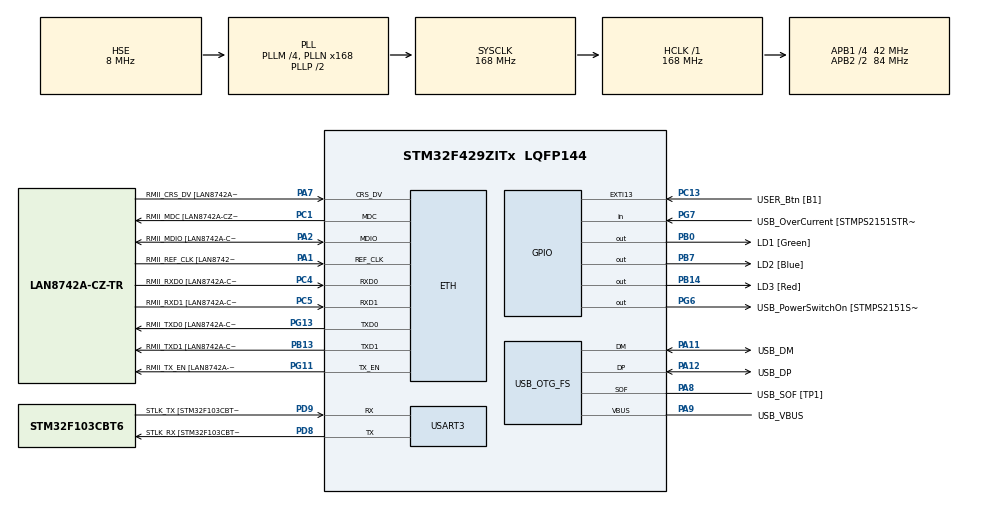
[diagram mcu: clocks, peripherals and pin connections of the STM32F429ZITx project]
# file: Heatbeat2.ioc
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ETH.MediaInterface=ETH_MEDIA_INTERFACE_RMII
ETH.PHY_Name=LAN8742A_PHY_ADDRESS
ETH.PHY_Value=0
ETH.PhyAddress=0
Mcu.Family=STM32F4
Mcu.Name=STM32F429ZITx
Mcu.Package=LQFP144
NVIC.PriorityGroup=NVIC_PRIORITYGROUP_4
PA1.GPIO_Label=RMII_REF_CLK [LAN8742A-CZ-TR_REFCLK0]
PA1.Mode=RMII
PA1.Signal=ETH_REF_CLK
PA10.GPIO_Label=USB_ID
PA10.Signal=USB_OTG_FS_ID
PA11.GPIO_Label=USB_DM
PA11.Mode=Device_Only
PA11.Signal=USB_OTG_FS_DM
PA12.GPIO_Label=USB_DP
PA12.Mode=Device_Only
PA12.Signal=USB_OTG_FS_DP
PA13.GPIO_Label=TMS
PA13.Mode=Serial_Wire
PA13.Signal=SYS_JTMS-SWDIO
PA14.GPIO_Label=TCK
PA14.Mode=Serial_Wire
PA14.Signal=SYS_JTCK-SWCLK
PA2.GPIO_Label=RMII_MDIO [LAN8742A-CZ-TR_MDIO]
PA2.Mode=RMII
PA2.Signal=ETH_MDIO
PA7.GPIO_Label=RMII_CRS_DV [LAN8742A-CZ-TR_CRS_DV]
PA7.Mode=RMII
PA7.Signal=ETH_CRS_DV
PA8.GPIO_Label=USB_SOF [TP1]
PA8.Mode=Activate_SOF_FS
PA8.Signal=USB_OTG_FS_SOF
PA9.GPIO_Label=USB_VBUS
PA9.Mode=Activate_VBUS
PA9.Signal=USB_OTG_FS_VBUS
PB0.GPIO_Label=LD1 [Green]
PB0.Signal=GPIO_Output
PB13.GPIO_Label=RMII_TXD1 [LAN8742A-CZ-TR_TXD1]
PB13.Mode=RMII
PB13.Signal=ETH_TXD1
PB14.GPIO_Label=LD3 [Red]
PB14.Signal=GPIO_Output
PB7.GPIO_Label=LD2 [Blue]
PB7.Signal=GPIO_Output
PC1.GPIO_Label=RMII_MDC [LAN8742A-CZ-TR_MDC]
PC1.Mode=RMII
PC1.Signal=ETH_MDC
PC13.GPIO_Label=USER_Btn [B1]
PC13.Signal=GPXTI13
PC14/OSC32_IN.Mode=LSE-External-Oscillator
PC14/OSC32_IN.Signal=RCC_OSC32_IN
PC15/OSC32_OUT.Mode=LSE-External-Oscillator
PC15/OSC32_OUT.Signal=RCC_OSC32_OUT
PC4.GPIO_Label=RMII_RXD0 [LAN8742A-CZ-TR_RXD0]
PC4.Mode=RMII
PC4.Signal=ETH_RXD0
PC5.GPIO_Label=RMII_RXD1 [LAN8742A-CZ-TR_RXD1]
PC5.Mode=RMII
PC5.Signal=ETH_RXD1
PD8.GPIO_Label=STLK_RX [STM32F103CBT6_PA3]
PD8.Mode=Asynchronous
PD8.Signal=USART3_TX
PD9.GPIO_Label=STLK_TX [STM32F103CBT6_PA2]
PD9.Mode=Asynchronous
PD9.Signal=USART3_RX
PG11.GPIO_Label=RMII_TX_EN [LAN8742A-CZ-TR_TXEN]
PG11.Mode=RMII
PG11.Signal=ETH_TX_EN
PG13.GPIO_Label=RMII_TXD0 [LAN8742A-CZ-TR_TXD0]
PG13.Mode=RMII
PG13.Signal=ETH_TXD0
PG6.GPIO_Label=USB_PowerSwitchOn [STMPS2151STR_EN]
PG6.Signal=GPIO_Output
PG7.GPIO_Label=USB_OverCurrent [STMPS2151STR_FAULT]
PG7.Signal=GPIO_Input
PH0/OSC_IN.GPIO_Label=MCO [STM32F103CBT6_PA8]
PH0/OSC_IN.Mode=HSE-External-Clock-Source
PH0/OSC_IN.Signal=RCC_OSC_IN
PH1/OSC_OUT.Mode=HSE-External-Clock-Source
PH1/OSC_OUT.Signal=RCC_OSC_OUT
ProjectManager.HeapSize=0x200
ProjectManager.StackSize=0x400
ProjectManager.TargetToolchain=TrueSTUDIO
RCC.48MHZClocksFreq_Value=48000000
RCC.AHBFreq_Value=168000000
RCC.APB1CLKDivider=RCC_HCLK_DIV4
RCC.APB1Freq_Value=42000000
RCC.APB1TimFreq_Value=84000000
RCC.APB2CLKDivider=RCC_HCLK_DIV2
RCC.APB2Freq_Value=84000000
RCC.APB2TimCLKDivider=2
RCC.APB2TimFreq_Value=168000000
RCC.CortexFreq_Value=168000000
RCC.HCLKFreq_Value=168000000
RCC.HSE_VALUE=8000000
RCC.HSI_VALUE=16000000
RCC.PLLM=4
RCC.PLLMUL=RCC_PLL_MUL9
RCC.PLLN=168
RCC.PLLQ=7
RCC.PRESCALERUSB=RCC_USBCLKSOURCE_PLL_DIV1_5
RCC.SYSCLKFreq_VALUE=168000000
RCC.SYSCLKSource=RCC_SYSCLKSOURCE_PLLCLK
RCC.SYSCLKSourceVirtual=RCC_SYSCLKSOURCE_PLLCLK
RCC.USBFreq_Value=48000000
RCC.VCOOutputFreq_Value=336000000
USART3.VirtualMode=VM_ASYNC
USB_OTG_FS.VirtualMode=Device_Only
board=NUCLEO-F429ZI

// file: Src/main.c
/* USER CODE BEGIN Header */
/**
  ******************************************************************************
  * @file           : main.c
  * @brief          : Main program body
  ******************************************************************************
  ** This notice applies to any and all portions of this file
  * that are not between comment pairs USER CODE BEGIN and
  * USER CODE END. Other portions of this file, whether
  * inserted by the user or by software development tools
  * are owned by their respective copyright owners.
  *
  * COPYRIGHT(c) 2019 STMicroelectronics
  *
  * Redistribution and use in source and binary forms, with or without modification,
  * are permitted provided that the following conditions are met:
  *   1. Redistributions of source code must retain the above copyright notice,
  *      this list of conditions and the following disclaimer.
  *   2. Redistributions in binary form must reproduce the above copyright notice,
  *      this list of conditions and the following disclaimer in the documentation
  *      and/or other materials provided with the distribution.
  *   3. Neither the name of STMicroelectronics nor the names of its contributors
  *      may be used to endorse or promote products derived from this software
  *      without specific prior written permission.
  *
  * THIS SOFTWARE IS PROVIDED BY THE COPYRIGHT HOLDERS AND CONTRIBUTORS "AS IS"
  * AND ANY EXPRESS OR IMPLIED WARRANTIES, INCLUDING, BUT NOT LIMITED TO, THE
  * IMPLIED WARRANTIES OF MERCHANTABILITY AND FITNESS FOR A PARTICULAR PURPOSE ARE
  * DISCLAIMED. IN NO EVENT SHALL THE COPYRIGHT HOLDER OR CONTRIBUTORS BE LIABLE
  * FOR ANY DIRECT, INDIRECT, INCIDENTAL, SPECIAL, EXEMPLARY, OR CONSEQUENTIAL
  * DAMAGES (INCLUDING, BUT NOT LIMITED TO, PROCUREMENT OF SUBSTITUTE GOODS OR
  * SERVICES; LOSS OF USE, DATA, OR PROFITS; OR BUSINESS INTERRUPTION) HOWEVER
  * CAUSED AND ON ANY THEORY OF LIABILITY, WHETHER IN CONTRACT, STRICT LIABILITY,
  * OR TORT (INCLUDING NEGLIGENCE OR OTHERWISE) ARISING IN ANY WAY OUT OF THE USE
  * OF THIS SOFTWARE, EVEN IF ADVISED OF THE POSSIBILITY OF SUCH DAMAGE.
  *
  ******************************************************************************
  */
/* USER CODE END Header */

#include "main.h"

ETH_HandleTypeDef heth;

UART_HandleTypeDef huart3;

PCD_HandleTypeDef hpcd_USB_OTG_FS;

void SystemClock_Config(void);
static void MX_GPIO_Init(void);
static void MX_ETH_Init(void);
static void MX_USART3_UART_Init(void);
static void MX_USB_OTG_FS_PCD_Init(void);

/* USER CODE BEGIN 0 */
void delay_LED()
{
	volatile int cpt = 0;
	for (volatile int i = 0; i < 10000000; i++);
	cpt++;
}
void delay_LED2()
{
	volatile int cpt2 = 0;
	for (volatile int i = 0; i < 1000000; i++);
	cpt2++;
}
/* USER CODE END 0 */

int main(void)
{

  /* MCU Configuration--------------------------------------------------------*/

  /* Reset of all peripherals, Initializes the Flash interface and the Systick. */
  HAL_Init();

  /* Configure the system clock */
  SystemClock_Config();

  /* Initialize all configured peripherals */
  MX_GPIO_Init();
  MX_ETH_Init();
  MX_USART3_UART_Init();
  MX_USB_OTG_FS_PCD_Init();

  /* Infinite loop */
  /* USER CODE BEGIN WHILE */
  while (1)
  {
	  HAL_GPIO_TogglePin(GPIOB, LD3_Pin);
	  HAL_GPIO_TogglePin(GPIOB, LD2_Pin);
	  HAL_GPIO_TogglePin(GPIOB, LD1_Pin);
	  HAL_Delay(2500);
	  HAL_GPIO_TogglePin(GPIOB, LD3_Pin);
	  HAL_GPIO_TogglePin(GPIOB, LD2_Pin);
	  HAL_GPIO_TogglePin(GPIOB, LD1_Pin);
	  HAL_Delay(2500);

	  /*HAL_GPIO_WritePin(GPIOB, LD1_Pin, 1);
	  delay_LED();
	  HAL_GPIO_WritePin(GPIOB, LD1_Pin, 0);
	  HAL_GPIO_WritePin(GPIOB, LD2_Pin, 1);
	  delay_LED();
	  HAL_GPIO_WritePin(GPIOB, LD1_Pin, 1);
	  delay_LED();
	  HAL_GPIO_WritePin(GPIOB, LD1_Pin, 0);
	  HAL_GPIO_WritePin(GPIOB, LD2_Pin, 0);
	  HAL_GPIO_WritePin(GPIOB, LD3_Pin, 1);
	  delay_LED();
	  HAL_GPIO_WritePin(GPIOB, LD1_Pin, 1);
	  delay_LED();
	  HAL_GPIO_WritePin(GPIOB, LD1_Pin, 0);
	  HAL_GPIO_WritePin(GPIOB, LD2_Pin, 1);
	  delay_LED();
	  HAL_GPIO_WritePin(GPIOB, LD1_Pin, 1);
	  delay_LED();
	  HAL_GPIO_WritePin(GPIOB, LD1_Pin, 0);
	  HAL_GPIO_WritePin(GPIOB, LD2_Pin, 0);
	  HAL_GPIO_WritePin(GPIOB, LD3_Pin, 0);
	  delay_LED2();
	  HAL_GPIO_WritePin(GPIOB, LD1_Pin, 1);
	  HAL_GPIO_WritePin(GPIOB, LD2_Pin, 1);
	  HAL_GPIO_WritePin(GPIOB, LD3_Pin, 1);
	  delay_LED2();
	  HAL_GPIO_WritePin(GPIOB, LD1_Pin, 0);
	  HAL_GPIO_WritePin(GPIOB, LD2_Pin, 0);
	  HAL_GPIO_WritePin(GPIOB, LD3_Pin, 0);
	  delay_LED2();
	  HAL_GPIO_WritePin(GPIOB, LD1_Pin, 1);
	  HAL_GPIO_WritePin(GPIOB, LD2_Pin, 1);
	  HAL_GPIO_WritePin(GPIOB, LD3_Pin, 1);
	  delay_LED2();
	  HAL_GPIO_WritePin(GPIOB, LD1_Pin, 0);
	  HAL_GPIO_WritePin(GPIOB, LD2_Pin, 0);
	  HAL_GPIO_WritePin(GPIOB, LD3_Pin, 0);
	  delay_LED2();
	  HAL_GPIO_WritePin(GPIOB, LD1_Pin, 1);
	  HAL_GPIO_WritePin(GPIOB, LD2_Pin, 1);
	  HAL_GPIO_WritePin(GPIOB, LD3_Pin, 1);
	  delay_LED2();
	  HAL_GPIO_WritePin(GPIOB, LD1_Pin, 0);
	  HAL_GPIO_WritePin(GPIOB, LD2_Pin, 0);
	  HAL_GPIO_WritePin(GPIOB, LD3_Pin, 0);
	  delay_LED();*/
    /* USER CODE END WHILE */

  }
}

void SystemClock_Config(void)
{
  RCC_OscInitTypeDef RCC_OscInitStruct = {0};
  RCC_ClkInitTypeDef RCC_ClkInitStruct = {0};

  /**Configure the main internal regulator output voltage
  */
  __HAL_RCC_PWR_CLK_ENABLE();
  __HAL_PWR_VOLTAGESCALING_CONFIG(PWR_REGULATOR_VOLTAGE_SCALE1);
  /**Initializes the CPU, AHB and APB busses clocks
  */
  RCC_OscInitStruct.OscillatorType = RCC_OSCILLATORTYPE_HSE;
  RCC_OscInitStruct.HSEState = RCC_HSE_BYPASS;
  RCC_OscInitStruct.PLL.PLLState = RCC_PLL_ON;
  RCC_OscInitStruct.PLL.PLLSource = RCC_PLLSOURCE_HSE;
  RCC_OscInitStruct.PLL.PLLM = 4;
  RCC_OscInitStruct.PLL.PLLN = 168;
  RCC_OscInitStruct.PLL.PLLP = RCC_PLLP_DIV2;
  RCC_OscInitStruct.PLL.PLLQ = 7;
  if (HAL_RCC_OscConfig(&RCC_OscInitStruct) != HAL_OK)
  {
    Error_Handler();
  }
  /**Initializes the CPU, AHB and APB busses clocks
  */
  RCC_ClkInitStruct.ClockType = RCC_CLOCKTYPE_HCLK|RCC_CLOCKTYPE_SYSCLK
                              |RCC_CLOCKTYPE_PCLK1|RCC_CLOCKTYPE_PCLK2;
  RCC_ClkInitStruct.SYSCLKSource = RCC_SYSCLKSOURCE_PLLCLK;
  RCC_ClkInitStruct.AHBCLKDivider = RCC_SYSCLK_DIV1;
  RCC_ClkInitStruct.APB1CLKDivider = RCC_HCLK_DIV4;
  RCC_ClkInitStruct.APB2CLKDivider = RCC_HCLK_DIV2;

  if (HAL_RCC_ClockConfig(&RCC_ClkInitStruct, FLASH_LATENCY_5) != HAL_OK)
  {
    Error_Handler();
  }
}

static void MX_ETH_Init(void)
{

   uint8_t MACAddr[6] ;

  heth.Instance = ETH;
  heth.Init.AutoNegotiation = ETH_AUTONEGOTIATION_ENABLE;
  heth.Init.PhyAddress = LAN8742A_PHY_ADDRESS;
  MACAddr[0] = 0x00;
  MACAddr[1] = 0x80;
  MACAddr[2] = 0xE1;
  MACAddr[3] = 0x00;
  MACAddr[4] = 0x00;
  MACAddr[5] = 0x00;
  heth.Init.MACAddr = &MACAddr[0];
  heth.Init.RxMode = ETH_RXPOLLING_MODE;
  heth.Init.ChecksumMode = ETH_CHECKSUM_BY_HARDWARE;
  heth.Init.MediaInterface = ETH_MEDIA_INTERFACE_RMII;

  if (HAL_ETH_Init(&heth) != HAL_OK)
  {
    Error_Handler();
  }

}

static void MX_USART3_UART_Init(void)
{

  huart3.Instance = USART3;
  huart3.Init.BaudRate = 115200;
  huart3.Init.WordLength = UART_WORDLENGTH_8B;
  huart3.Init.StopBits = UART_STOPBITS_1;
  huart3.Init.Parity = UART_PARITY_NONE;
  huart3.Init.Mode = UART_MODE_TX_RX;
  huart3.Init.HwFlowCtl = UART_HWCONTROL_NONE;
  huart3.Init.OverSampling = UART_OVERSAMPLING_16;
  if (HAL_UART_Init(&huart3) != HAL_OK)
  {
    Error_Handler();
  }

}

static void MX_USB_OTG_FS_PCD_Init(void)
{

  hpcd_USB_OTG_FS.Instance = USB_OTG_FS;
  hpcd_USB_OTG_FS.Init.dev_endpoints = 4;
  hpcd_USB_OTG_FS.Init.speed = PCD_SPEED_FULL;
  hpcd_USB_OTG_FS.Init.dma_enable = DISABLE;
  hpcd_USB_OTG_FS.Init.ep0_mps = DEP0CTL_MPS_64;
  hpcd_USB_OTG_FS.Init.phy_itface = PCD_PHY_EMBEDDED;
  hpcd_USB_OTG_FS.Init.Sof_enable = ENABLE;
  hpcd_USB_OTG_FS.Init.low_power_enable = DISABLE;
  hpcd_USB_OTG_FS.Init.lpm_enable = DISABLE;
  hpcd_USB_OTG_FS.Init.vbus_sensing_enable = ENABLE;
  hpcd_USB_OTG_FS.Init.use_dedicated_ep1 = DISABLE;
  if (HAL_PCD_Init(&hpcd_USB_OTG_FS) != HAL_OK)
  {
    Error_Handler();
  }

}

static void MX_GPIO_Init(void)
{
  GPIO_InitTypeDef GPIO_InitStruct = {0};

  /* GPIO Ports Clock Enable */
  __HAL_RCC_GPIOC_CLK_ENABLE();
  __HAL_RCC_GPIOH_CLK_ENABLE();
  __HAL_RCC_GPIOA_CLK_ENABLE();
  __HAL_RCC_GPIOB_CLK_ENABLE();
  __HAL_RCC_GPIOD_CLK_ENABLE();
  __HAL_RCC_GPIOG_CLK_ENABLE();

  /*Configure GPIO pin Output Level */
  HAL_GPIO_WritePin(GPIOB, LD1_Pin|LD3_Pin|LD2_Pin, GPIO_PIN_RESET);

  /*Configure GPIO pin Output Level */
  HAL_GPIO_WritePin(USB_PowerSwitchOn_GPIO_Port, USB_PowerSwitchOn_Pin, GPIO_PIN_RESET);

  /*Configure GPIO pin : USER_Btn_Pin */
  GPIO_InitStruct.Pin = USER_Btn_Pin;
  GPIO_InitStruct.Mode = GPIO_MODE_IT_RISING;
  GPIO_InitStruct.Pull = GPIO_NOPULL;
  HAL_GPIO_Init(USER_Btn_GPIO_Port, &GPIO_InitStruct);

  /*Configure GPIO pins : LD1_Pin LD3_Pin LD2_Pin */
  GPIO_InitStruct.Pin = LD1_Pin|LD3_Pin|LD2_Pin;
  GPIO_InitStruct.Mode = GPIO_MODE_OUTPUT_PP;
  GPIO_InitStruct.Pull = GPIO_NOPULL;
  GPIO_InitStruct.Speed = GPIO_SPEED_FREQ_LOW;
  HAL_GPIO_Init(GPIOB, &GPIO_InitStruct);

  /*Configure GPIO pin : USB_PowerSwitchOn_Pin */
  GPIO_InitStruct.Pin = USB_PowerSwitchOn_Pin;
  GPIO_InitStruct.Mode = GPIO_MODE_OUTPUT_PP;
  GPIO_InitStruct.Pull = GPIO_NOPULL;
  GPIO_InitStruct.Speed = GPIO_SPEED_FREQ_LOW;
  HAL_GPIO_Init(USB_PowerSwitchOn_GPIO_Port, &GPIO_InitStruct);

  /*Configure GPIO pin : USB_OverCurrent_Pin */
  GPIO_InitStruct.Pin = USB_OverCurrent_Pin;
  GPIO_InitStruct.Mode = GPIO_MODE_INPUT;
  GPIO_InitStruct.Pull = GPIO_NOPULL;
  HAL_GPIO_Init(USB_OverCurrent_GPIO_Port, &GPIO_InitStruct);

}

void Error_Handler(void)
{
}

/************************ (C) COPYRIGHT STMicroelectronics *****END OF FILE****/
